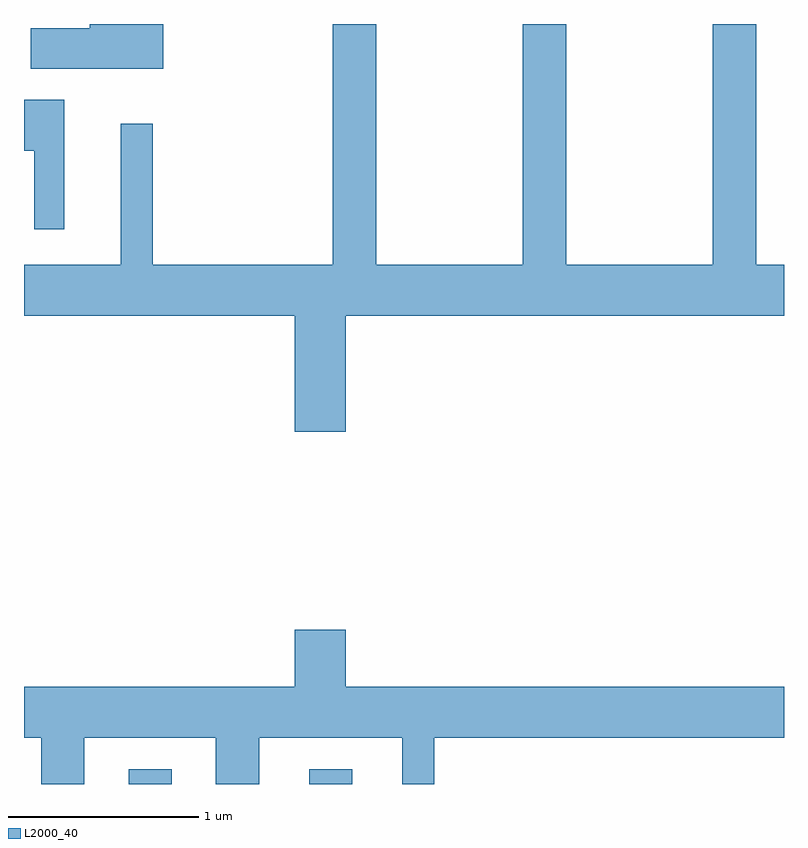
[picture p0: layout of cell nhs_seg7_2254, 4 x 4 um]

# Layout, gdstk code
import gdstk
lib = gdstk.Library(unit=1e-6, precision=1e-09)
def R(c, l, rs):  # rectangles x0, y0, x1, y1
    for r in rs: c.add(gdstk.rectangle(r[:2], r[2:], *l))
def P(c, l, *ps):  # polygons
    for p in ps: c.add(gdstk.Polygon(p, *l))
L2000_40 = (2000, 40)

nhs_seg7_2254 = lib.new_cell('nhs_seg7_2254')
R(nhs_seg7_2254, L2000_40, [(254.161,1756.252,254.389,1756.329), (255.111,1756.252,255.339,1756.329)])
P(nhs_seg7_2254, L2000_40, [(255.304,1758.716),(257.611,1758.716),(257.611,1758.984),(257.464,1758.984),(257.464,1760.252),(257.236,1760.252),(257.236,1758.984),(256.464,1758.984),(256.464,1760.252),(256.236,1760.252),(256.236,1758.984),(255.464,1758.984),(255.464,1760.252),(255.236,1760.252),(255.236,1758.984),(254.289,1758.984),(254.289,1759.728),(254.121,1759.728),(254.121,1758.984),(253.611,1758.984),(253.611,1758.716),(255.036,1758.716),(255.036,1758.106),(255.304,1758.106)],
  [(254.344,1760.252),(253.956,1760.252),(253.956,1760.229),(253.646,1760.229),(253.646,1760.016),(254.344,1760.016)],
  [(253.824,1759.854),(253.611,1759.854),(253.611,1759.586),(253.666,1759.586),(253.666,1759.173),(253.824,1759.173)],
  [(253.929,1756.496),(254.621,1756.496),(254.621,1756.252),(254.849,1756.252),(254.849,1756.496),(255.601,1756.496),(255.601,1756.252),(255.769,1756.252),(255.769,1756.496),(257.611,1756.496),(257.611,1756.764),(255.304,1756.764),(255.304,1757.064),(255.036,1757.064),(255.036,1756.764),(253.611,1756.764),(253.611,1756.496),(253.701,1756.496),(253.701,1756.252),(253.929,1756.252)])

lib.write_gds('nhs_seg7_2254.gds')
